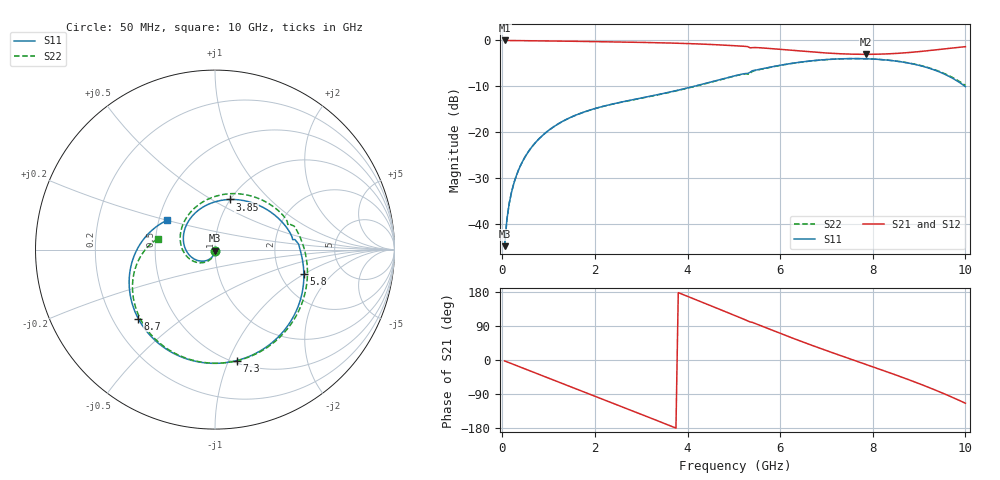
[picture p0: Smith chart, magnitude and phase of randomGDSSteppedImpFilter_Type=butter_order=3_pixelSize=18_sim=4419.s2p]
! freq	dB(S11)	phase(S11)	dB(S12)	phase(S12)
!  dB(S21)	phase(S21)	dB(S22)	phase(S22)
!S-par simulation data
#  GHz  S  DB  R 50
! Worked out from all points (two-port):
!   200 points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, 50 MHz to 10 GHz, reference 50 ohm
!   highest |S21| = 0.00 dB at 50 MHz (marker M1); lowest = -3.0 dB at 7.85 GHz (marker M2)
!   |S21| within 3 dB of the highest: start of sweep to 7.591 GHz; 8.101 GHz to end of sweep
!   lowest |S11| = -44.9 dB at 50 MHz (marker M3), VSWR 1.01, Z = 50 - j0.569 ohm
!   |S11| at or under -10 dB: start of sweep to 4.145 GHz; 9.990093 GHz to end of sweep
!   |S22| runs from -44.9 to -4.0 dB; largest |S21 - S12| = 0
!   S11 on the Smith chart (normalised r, x): 50 MHz: 1.00, -0.01; 3.85 GHz: 0.99, +0.61; 5.8 GHz: 2.70, -0.98; 7.3 GHz: 0.52, -1.07; 8.7 GHz: 0.31, -0.35; 10 GHz: 0.55, +0.20
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0.05  -44.89 -90.5  -0.00 -2.4  -0.00 -2.4  -44.89 -90.1
0.1  -39.02 -93.9  -0.01 -4.9  -0.01 -4.9  -39.01 -93.2
0.2  -33.08 -100.0  -0.02 -9.6  -0.02 -9.6  -33.07 -98.5
0.5  -25.27 -116.3  -0.05 -24.0  -0.05 -24.0  -25.27 -112.7
1.15  -18.57 -150.1  -0.13 -55.0  -0.13 -55.0  -18.57 -141.8
1.75  -15.67 179.0  -0.22 -83.5  -0.22 -83.5  -15.68 -168.3
2.1  -14.58 161.0  -0.27 -100.1  -0.27 -100.1  -14.60 176.3
2.5  -13.60 140.6  -0.34 -119.2  -0.34 -119.2  -13.63 158.4
2.95  -12.66 117.8  -0.42 -140.8  -0.42 -140.8  -12.70 137.9
3.4  -11.74 95.5  -0.51 -162.6  -0.51 -162.6  -11.79 116.6
3.85  -10.73 73.7  -0.63 175.4  -0.63 175.4  -10.78 94.4
4.4  -9.34 47.9  -0.83 148.3  -0.83 148.3  -9.39 66.3
5.05  -7.64 18.1  -1.17 116.0  -1.17 116.0  -7.68 32.3
5.8  -5.80 -15.2  -1.78 79.8  -1.78 79.8  -5.83 -5.4
6.25  -5.00 -34.9  -2.16 58.6  -2.16 58.6  -5.03 -27.4
6.7  -4.42 -54.1  -2.53 38.1  -2.53 38.1  -4.44 -48.4
7.3  -4.01 -79.0  -2.91 11.8  -2.91 11.8  -4.03 -74.9
7.85  -4.00 -101.6  -3.03 -11.6  -3.03 -11.6  -4.01 -98.2
8.35  -4.33 -122.6  -2.92 -33.0  -2.92 -33.0  -4.32 -119.1
8.7  -4.81 -138.1  -2.70 -48.5  -2.70 -48.5  -4.78 -133.9
9.35  -6.52 -170.3  -2.07 -79.3  -2.07 -79.3  -6.43 -162.3
10  -10.07 148.6  -1.36 -114.1  -1.36 -114.1  -9.82 169.0
